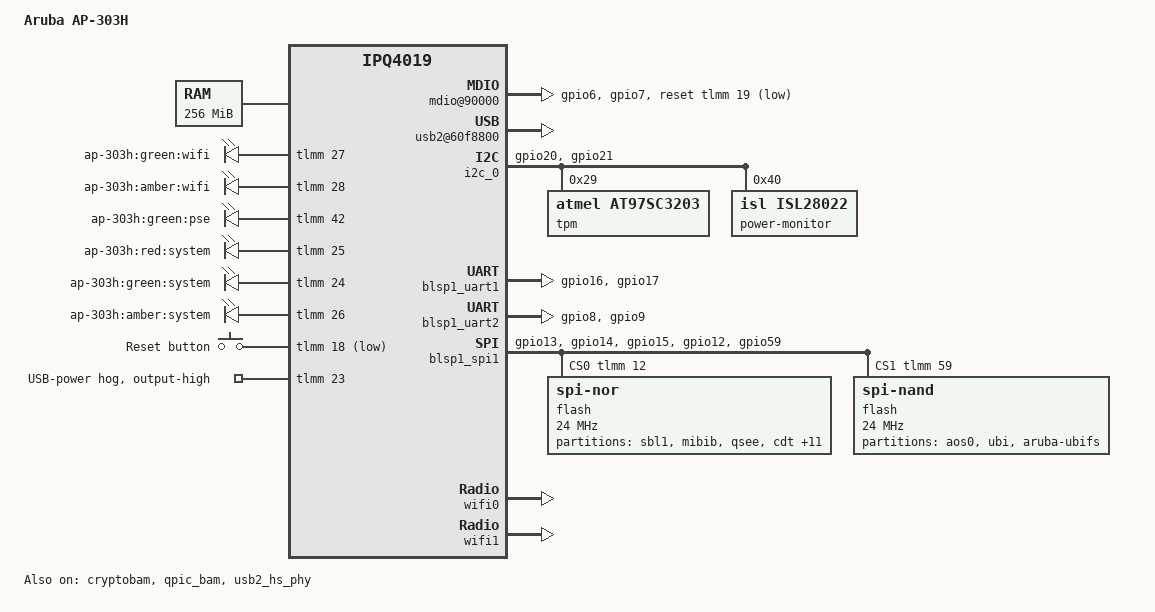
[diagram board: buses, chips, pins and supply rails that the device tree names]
// SPDX-License-Identifier: GPL-2.0 OR MIT

#include "qcom-ipq4019.dtsi"
#include <dt-bindings/gpio/gpio.h>
#include <dt-bindings/input/input.h>
#include <dt-bindings/soc/qcom,tcsr.h>

/ {
	model = "Aruba AP-303H";
	compatible = "aruba,ap-303h";

	aliases {
		led-boot = &led_system_green;
		led-failsafe = &led_system_red;
		led-running = &led_system_green;
		led-upgrade = &led_system_amber;
	};

	memory {
		device_type = "memory";
		reg = <0x80000000 0x10000000>;
	};

	soc {
		rng@22000 {
			status = "okay";
		};

		mdio@90000 {
			status = "okay";
			pinctrl-0 = <&mdio_pins>;
			pinctrl-names = "default";

			reset-gpios = <&tlmm 19 GPIO_ACTIVE_LOW>;
			reset-delay-us = <2000>;
		};

		counter@4a1000 {
			compatible = "qcom,qca-gcnt";
			reg = <0x4a1000 0x4>;
		};

		ess_tcsr@1953000 {
			compatible = "qcom,tcsr";
			reg = <0x1953000 0x1000>;
			qcom,ess-interface-select = <TCSR_ESS_PSGMII>;
		};

		tcsr@1949000 {
			compatible = "qcom,tcsr";
			reg = <0x1949000 0x100>;
			qcom,wifi_glb_cfg = <TCSR_WIFI_GLB_CFG>;
		};

		tcsr@194b000 {
			compatible = "qcom,tcsr";
			reg = <0x194b000 0x100>;
			qcom,usb-hsphy-mode-select = <TCSR_USB_HSPHY_HOST_MODE>;
		};

		tcsr@1957000 {
			compatible = "qcom,tcsr";
			reg = <0x1957000 0x100>;
			qcom,wifi_noc_memtype_m0_m2 = <TCSR_WIFI_NOC_MEMTYPE_M0_M2>;
		};

		usb2@60f8800 {
			status = "okay";
		};

		crypto@8e3a000 {
			status = "okay";
		};

		watchdog@b017000 {
			status = "okay";
		};

		ess-switch@c000000 {
			status = "okay";
		};

		edma@c080000 {
			status = "okay";
		};

		i2c_0: i2c@78b7000 {
			pinctrl-0 = <&i2c_0_pins>;
			pinctrl-names = "default";
			status = "okay";

			tpm@29 {
				/* No Driver */
				compatible = "atmel,at97sc3203";
				reg = <0x29>;
				read-only;
			};

			power-monitor@40 {
				/* No driver */
				compatible = "isl,isl28022";
				reg = <0x40>;
		    };
		};
	};

	leds {
		compatible = "gpio-leds";

		wifi_green {
			label = "ap-303h:green:wifi";
			gpios = <&tlmm 27 GPIO_ACTIVE_HIGH>;
			linux,default-trigger = "phy0tpt";
		};

		wifi_amber {
			label = "ap-303h:amber:wifi";
			gpios = <&tlmm 28 GPIO_ACTIVE_HIGH>;
			linux,default-trigger = "phy1tpt";
		};

		pse {
			label = "ap-303h:green:pse";
			gpios = <&tlmm 42 GPIO_ACTIVE_HIGH>;
		};

		led_system_red: system_red {
			label = "ap-303h:red:system";
			gpios = <&tlmm 25 GPIO_ACTIVE_HIGH>;
		};

		led_system_green: system_green {
			label = "ap-303h:green:system";
			gpios = <&tlmm 24 GPIO_ACTIVE_HIGH>;
		};

		led_system_amber: system_amber {
			label = "ap-303h:amber:system";
			gpios = <&tlmm 26 GPIO_ACTIVE_HIGH>;
		};
	};

	keys {
		compatible = "gpio-keys";

		reset {
			label = "Reset button";
			gpios = <&tlmm 18 GPIO_ACTIVE_LOW>;
			linux,code = <KEY_RESTART>;
		};
	};
};

&blsp_dma {
	status = "okay";
};

&blsp1_uart1 {
	pinctrl-0 = <&serial_0_pins>;
	pinctrl-names = "default";
	status = "okay";
};

&blsp1_uart2 {
	/* Texas Instruments CC2540T BLE radio */
	pinctrl-0 = <&serial_1_pins>;
	pinctrl-names = "default";
	status = "okay";
};

&cryptobam {
	status = "okay";
};

&qpic_bam {
	status = "okay";
};

&tlmm {
	/*
	 * In addition to the Pins listed below,
	 * the following GPIOs have "features":
	 * 39 - out - active low to force HW reset
	 * 32 - out - active low to reset TPM
	 * 43 - out - active low to reset BLE radio
	 * 41 - out - pulse to set warm reset status
	 * 34 - out - active low to enable PSE port
	 * 22 - in  - active low when 802.3at powered
	 * 29 - in  - active high when DC powered
	 * 40 - in  - active low when reset due to cold HW reset
	 * 30 - in  - active low when USB overcurrent detected
	 * 35 - in  - interrupt line for power monitor chip
	 * 31 - in  - active low when PSE port active
	 */
	mdio_pins: mdio_pinmux {
		mux_1 {
			pins = "gpio6";
			function = "mdio";
			bias-pull-up;
		};
		mux_2 {
			pins = "gpio7";
			function = "mdc";
			bias-pull-up;
		};
	};

	spi_0_pins: spi_0_pinmux {
		pin {
			function = "blsp_spi0";
			pins = "gpio13", "gpio14", "gpio15";
			drive-strength = <12>;
			bias-disable;
		};
		pin_cs {
			function = "gpio";
			pins = "gpio12", "gpio59";
			drive-strength = <2>;
			bias-disable;
			output-high;
		};
	};

	i2c_0_pins: i2c_0_pinmux {
		mux {
			pins = "gpio20", "gpio21";
			function = "blsp_i2c0";
			drive-strength = <4>;
			bias-disable;
		};
	};

	serial_0_pins: serial_0_pinmux {
		mux {
			pins = "gpio16", "gpio17";
			function = "blsp_uart0";
			bias-disable;
		};
	};

	serial_1_pins: serial_1_pinmux {
		mux {
			pins = "gpio8", "gpio9";
			function = "blsp_uart1";
			bias-disable;
		};
	};

	usb-power {
		line-name = "USB-power";
		gpios = <23 GPIO_ACTIVE_HIGH>;
		gpio-hog;
		output-high;
	};
};

&blsp1_spi1 {
	pinctrl-0 = <&spi_0_pins>;
	pinctrl-names = "default";
	status = "okay";
	cs-gpios = <&tlmm 12 GPIO_ACTIVE_HIGH>, <&tlmm 59 GPIO_ACTIVE_HIGH>;

	flash@0 {
		compatible = "jedec,spi-nor";
		reg = <0>;
		spi-max-frequency = <24000000>;

		partitions {
			compatible = "fixed-partitions";
			#address-cells = <1>;
			#size-cells = <1>;

			/*
			 * There is no partition map for the NOR flash
			 * in the stock firmware.
			 *
			 * All partitions here are based on offsets
			 * found in the U-Boot GPL code and information
			 * from smem.
			 */

			partition@0 {
				label = "sbl1";
				reg = <0x0 0x40000>;
				read-only;
			};

			partition@40000 {
				label = "mibib";
				reg = <0x40000 0x20000>;
				read-only;
			};

			partition@60000 {
				label = "qsee";
				reg = <0x60000 0x60000>;
				read-only;
			};

			partition@c0000 {
				label = "cdt";
				reg = <0xc0000 0x10000>;
				read-only;
			};

			partition@d0000 {
				label = "ddrparams";
				reg = <0xd0000 0x10000>;
				read-only;
			};

			partition@e0000 {
				label = "appsblenv";
				reg = <0xe0000 0x10000>;
				read-only;
			};

			partition@f0000 {
				label = "appsbl";
				reg = <0xf0000 0x100000>;
				read-only;
			};

			partition@1e0000 {
				label = "ART";
				reg = <0x1f0000 0x10000>;
				read-only;
			};

			partition@1f0000 {
				label = "osss";
				reg = <0x200000 0x170000>;
				read-only;
			};

			partition@200000 {
				label = "pds";
				reg = <0x370000 0x10000>;
				read-only;
			};

			partition@380000 {
				label = "apcd";
				reg = <0x380000 0x10000>;
				read-only;
			};

			partition@390000 {
				label = "mfginfo";
				reg = <0x390000 0x10000>;
				read-only;
			};

			partition@3a0000 {
				label = "fcache";
				reg = <0x3a0000 0x10000>;
				read-only;
			};

			partition@3b0000 {
				/* Called osss1 in smem */
				label = "u-boot-env-bak";
				reg = <0x3b0000 0x10000>;
				read-only;
			};

			partition@3f0000 {
				label = "u-boot-env";
				reg = <0x3c0000 0x40000>;
				read-only;
			};
		};
	};

	flash@1 {
		status = "okay";

		compatible = "spi-nand";
		reg = <1>;
		spi-max-frequency = <24000000>;

		partitions {
			compatible = "fixed-partitions";
			#address-cells = <1>;
			#size-cells = <1>;

			partition@0 {
				/* 'aos0' in Aruba firmware */
				label = "aos0";
				reg = <0x0 0x2000000>;
				read-only;
			};

			partition@2000000 {
				/* 'aos1' in Aruba firmware */
				label = "ubi";
				reg = <0x2000000 0x2000000>;
			};

			partition@4000000 {
				label = "aruba-ubifs";
				reg = <0x4000000 0x4000000>;
				read-only;
			};
		};
	};
};

&usb2_hs_phy {
	status = "okay";
};

&wifi0 {
	status = "okay";
	qcom,ath10k-calibration-variant = "Aruba-AP-303";
};

&wifi1 {
	status = "okay";
	qcom,ath10k-calibration-variant = "Aruba-AP-303";
};
